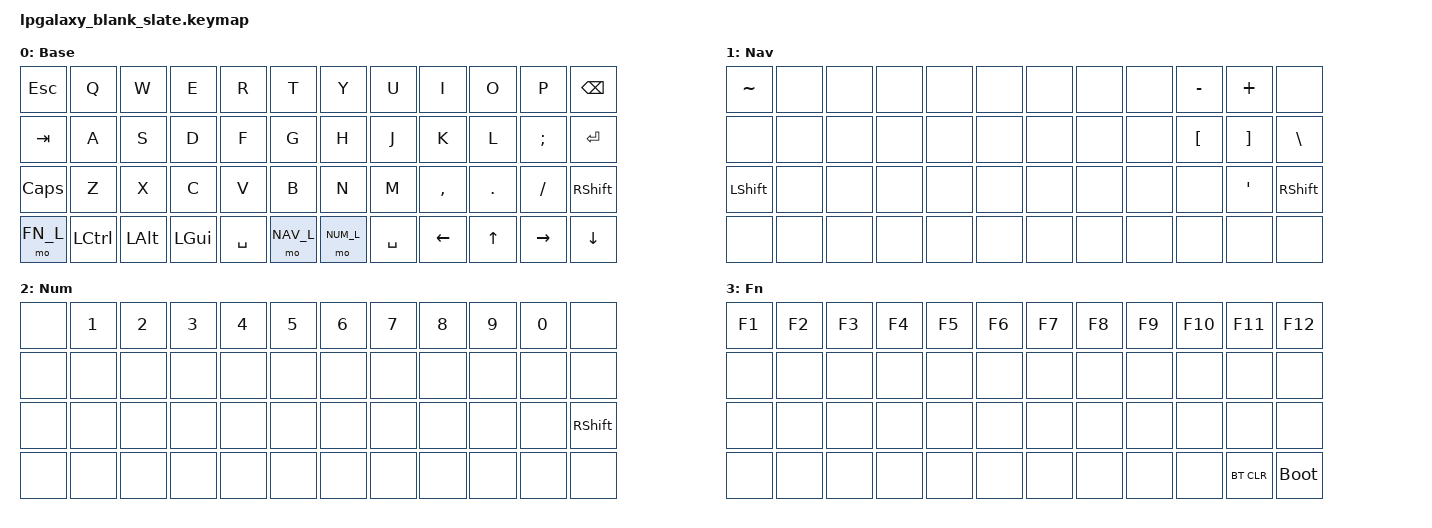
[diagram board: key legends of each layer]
#include <behaviors.dtsi>
#include <dt-bindings/zmk/keys.h>
#include <dt-bindings/zmk/bt.h>
#include <dt-bindings/zmk/outputs.h>

#define NAV_L 1
#define NUM_L 2
#define FN_L  3

// Tap 설정
&lt { quick_tap_ms = <200>; };

#define BT(n) BT_SEL n

/ {
    chosen {
        zmk,physical-layout = &layout_ortho_4x12_all1u;
    };

    macros {
        ZMK_MACRO(thumbs_up,
            wait-ms = <1>;
            tap-ms = <5>;
            bindings = <&kp PLUS &kp COLON &kp PLUS &kp N1 &kp COLON &kp RET>;
        )
    };

    tap_dances {
        shifty: shift_caps_word {
            compatible = "zmk,behavior-tap-dance";
            label = "TD_SHIFTY";
            #binding-cells = <0>;
            tapping-term-ms = <150>;
            bindings = <&kp LSHFT>, <&caps_word>;
        };
    };

    keymap {
        compatible = "zmk,keymap";

        base_layer {
            label = "Base";
            bindings = <
                &kp ESC    &kp Q      &kp W      &kp E       &kp R      &kp T      &kp Y      &kp U      &kp I     &kp O     &kp P      &kp BKSP
                &kp TAB    &kp A      &kp S      &kp D       &kp F      &kp G      &kp H      &kp J      &kp K     &kp L     &kp SEMI   &kp RET
                &kp CAPS   &kp Z      &kp X      &kp C       &kp V      &kp B      &kp N      &kp M      &kp COMMA &kp DOT   &kp FSLH   &kp RSHFT
                &mo FN_L   &kp LCTRL  &kp LALT   &kp LGUI    &kp SPACE  &mo NAV_L  &mo NUM_L  &kp SPACE  &kp LEFT  &kp UP    &kp RIGHT  &kp DOWN
            >;
        };

        nav_layer {
            label = "Nav";
            bindings = <
                &kp TILDE  &none      &none      &none       &none      &none      &none      &none      &none      &kp MINUS  &kp PLUS   &none
                &none      &none      &none      &none       &none      &none      &none      &none      &none      &kp LBKT   &kp RBKT   &kp BSLH
                &kp LSHFT  &none      &none      &none       &none      &none      &none      &none      &none      &none      &kp QUOT   &kp RSHFT
                &none      &none      &none      &none       &none      &none      &none      &none      &none      &none      &none      &none
            >;
        };

        num_layer {
            label = "Num";
            bindings = <
                &none      &kp N1     &kp N2     &kp N3      &kp N4     &kp N5      &kp N6     &kp N7     &kp N8     &kp N9     &kp N0     &none
                &none      &none      &none      &none       &none      &none       &none      &none      &none      &none      &none      &none
                &none      &none      &none      &none       &none      &none       &none      &none      &none      &none      &none      &kp RSHFT
                &none      &none      &none      &none       &none      &none       &none      &none      &none      &none      &none      &none
            >;
        };

        fn_layer {
            label = "Fn";
            bindings = <
                &kp F1     &kp F2     &kp F3     &kp F4      &kp F5     &kp F6      &kp F7     &kp F8     &kp F9     &kp F10    &kp F11    &kp F12
                &none      &none      &none      &none       &none      &none       &none      &none      &none      &none      &none      &none
                &none      &none      &none      &none       &none      &none       &none      &none      &none      &none      &none      &none
                &none      &none      &none      &none       &none      &none       &none      &none      &none      &none      &bt BT_CLR &bootloader
            >;
        };

    };
};
